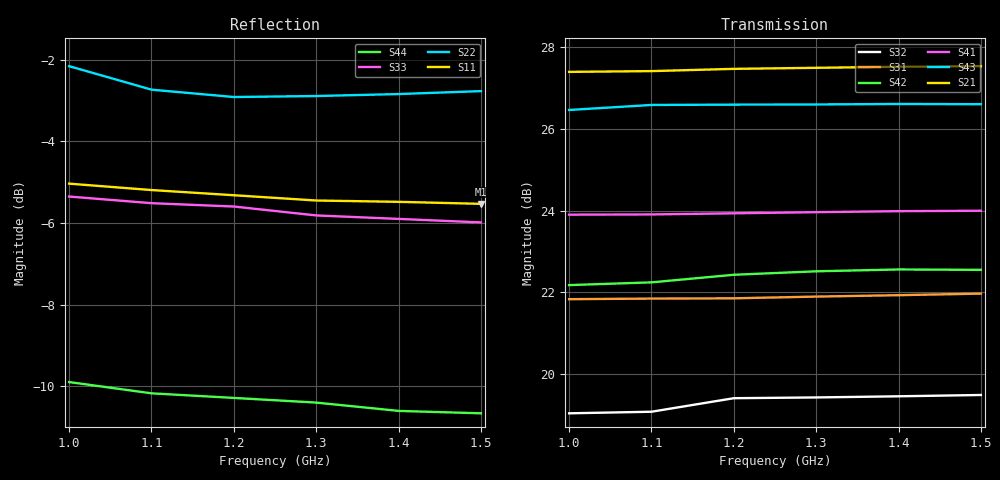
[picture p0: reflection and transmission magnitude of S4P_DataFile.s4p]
! Example of a correctly formatted S4P four port Touchstone S-parameter data file
! # GHZ S MA R 50
! freq1 magS11  angS11  magS12  angS12  magS13  angS13  magS14  angS14
!  magS21  angS21  magS22  angS22  magS23  angS23  magS24  angS24
!	magS31  angS31  magS32  angS32  magS33  angS33  magS34  angS34
!	magS41  angS41  magS42  angS42  magS43  angS43  magS44  angS44
! freq2 magS11  angS11  magS12  angS12  magS13  angS13  magS14  angS14
!  magS21  angS21  magS22  angS22  magS23  angS23  magS24  angS24
!	magS31  angS31  magS32  angS32  magS33  angS33  magS34  angS34
!	magS41  angS41  magS42  angS42  magS43  angS43  magS44  angS44
# GHZ S MA R 50
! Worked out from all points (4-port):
!   6 points, 1 GHz to 1.5 GHz, reference 50 ohm
!   strongest paths, dB at 1 GHz, 1.1 GHz, 1.3 GHz, 1.4 GHz, 1.5 GHz:
!     S21: 27.4, 27.4, 27.5, 27.5, 27.5
!     S43: 26.5, 26.6, 26.6, 26.6, 26.6
!     S41: 23.9, 23.9, 24.0, 24.0, 24.0
!     S42: 22.2, 22.2, 22.5, 22.6, 22.6
!     S31: 21.8, 21.8, 21.9, 21.9, 22.0
!     S32: 19.0, 19.1, 19.4, 19.5, 19.5
!   lowest |S11| = -5.5 dB at 1.5 GHz (marker M1), VSWR 3.25, Z = 115 + j68.7 ohm
!   |S11| at or under -10 dB: nowhere
1  0.56 24.0  0.002 54.0  0.003 34.0  0.004 12.0
   23.45 33.0  0.78 44.0  0.006 10.0  0.012 20.0
   12.35 87.0  8.95 14.0  0.54 31.0  0.011 1.0
   15.68 3.0  12.85 55.0  21.06 30.0  0.32 10.0
1.1  0.55 24.0  0.003 54.0  0.004 34.0  0.003 12.0
     23.5 33.0  0.73 44.0  0.007 10.0  0.014 20.0
     12.37 87.0  8.99 14.0  0.53 31.0  0.01 1.0
     15.69 3.0  12.95 55.0  21.36 30.0  0.31 10.0
1.2  0.542 24.0  0.005 54.0  0.005 34.0  0.003 12.0
     23.65 33.0  0.715 44.0  0.009 10.0  0.016 20.0
     12.38 87.0  9.34 14.0  0.525 31.0  0.011 1.0
     15.73 3.0  13.23 55.0  21.38 30.0  0.306 10.0
1.3  0.534 24.0  0.006 54.0  0.008 34.0  0.002 12.0
     23.72 33.0  0.717 44.0  0.008 10.0  0.015 20.0
     12.44 87.0  9.36 14.0  0.512 31.0  0.011 1.0
     15.79 3.0  13.36 55.0  21.39 30.0  0.302 10.0
1.4  0.532 24.0  0.008 54.0  0.011 34.0  0.001 12.0
     23.79 33.0  0.721 44.0  0.006 10.0  0.013 20.0
     12.49 87.0  9.39 14.0  0.507 31.0  0.012 1.0
     15.83 3.0  13.43 55.0  21.42 30.0  0.295 10.0
1.5  0.529 24.0  0.009 54.0  0.013 34.0  0.001 12.0
     23.83 33.0  0.727 44.0  0.007 10.0  0.015 20.0
     12.54 87.0  9.425 14.0  0.502 31.0  0.014 1.0
     15.85 3.0  13.41 55.0  21.41 30.0  0.293 10.0
